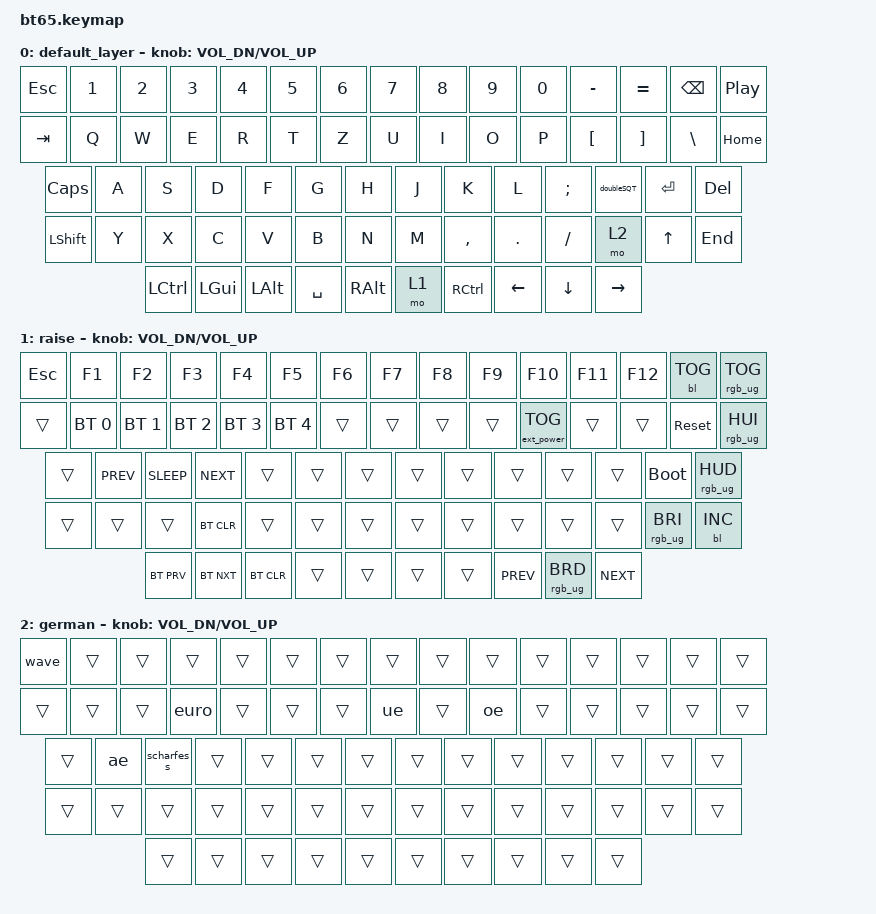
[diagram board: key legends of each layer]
#include <behaviors.dtsi>
#include <dt-bindings/zmk/keys.h>
#include <dt-bindings/zmk/bt.h>
#include <dt-bindings/zmk/rgb.h>
#include <dt-bindings/zmk/backlight.h>
#include <dt-bindings/zmk/ext_power.h>

/ {
	// Macros for Umlauts, Sharp S (ß), Euro Symbol (€), and Tilde (~)
	macros {
		oe: oe {
			label = "oe";
			compatible = "zmk,behavior-macro";
			#binding-cells = <0>;
			wait-ms = <60>;
			tap-ms = <40>;
			bindings = <&macro_press &kp LSHFT &macro_tap &kp SQT &macro_release &kp LSHFT &macro_tap &kp O>;
		};

		ue: ue {
			label = "ue";
			compatible = "zmk,behavior-macro";
			#binding-cells = <0>;
			wait-ms = <60>;
			tap-ms = <40>;
			bindings = <&macro_press &kp LSHFT &macro_tap &kp SQT &macro_release &kp LSHFT &macro_tap &kp U>;
		};

		ae: ae {
			label = "ae";
			compatible = "zmk,behavior-macro";
			#binding-cells = <0>;
			wait-ms = <60>;
			tap-ms = <40>;
			bindings = <&macro_press &kp LSHFT &macro_tap &kp SQT &macro_release &kp LSHFT &macro_tap &kp A>;
		};

		scharfes_s: scharfes_s {
			label = "scharfes_s";
			compatible = "zmk,behavior-macro";
			#binding-cells = <0>;
			wait-ms = <60>;
			tap-ms = <40>;
			bindings = <&macro_press &kp RALT &macro_tap &kp S &macro_release &kp RALT>;
		};

		euro: euro {
			label = "euro";
			compatible = "zmk,behavior-macro";
			#binding-cells = <0>;
			wait-ms = <60>;
			tap-ms = <40>;
			bindings = <&macro_press &kp RALT &macro_tap &kp N5 &macro_release &kp RALT>;
		};

		// Two taps because Shift+` is a dead tilde on US-Intl; second tap commits the literal ~.
		wave: wave {
			label = "wave";
			compatible = "zmk,behavior-macro";
			#binding-cells = <0>;
			wait-ms = <60>;
			tap-ms = <40>;
			bindings = <&macro_tap &kp LS(GRAVE) &kp LS(GRAVE)>;
		};

		// Two taps because ' is a dead acute on US-Intl; second tap commits literal ' (or " with Shift).
		doubleSQT: doubleSQT {
			label = "doubleSQT";
			compatible = "zmk,behavior-macro";
			#binding-cells = <0>;
			wait-ms = <60>;
			tap-ms = <40>;
			bindings = <&macro_tap &kp SQT &kp SQT>;
		};
	};

	// Default Layer (US-International layout)
	keymap {
		compatible = "zmk,keymap";

		default_layer {
			bindings = <
				&kp ESC &kp N1 &kp N2 &kp N3 &kp N4 &kp N5 &kp N6 &kp N7 &kp  N8   &kp  N9   &kp N0 &kp MINUS &kp EQUAL &kp BKSP &kp C_PLAY_PAUSE
				&kp TAB  &kp Q  &kp W  &kp E  &kp R  &kp T  &kp Z  &kp U  &kp  I    &kp  O  &kp  P   &kp LBKT &kp RBKT  	&kp BSLH &kp HOME
				&kp CLCK  &kp A  &kp S  &kp D  &kp F  &kp G  &kp H  &kp J  &kp  K    &kp  L  &kp SEMI &doubleSQT           	&kp RET &kp DEL
				&kp LSHFT &kp Y  &kp X  &kp C  &kp V  &kp B  &kp N  &kp M  &kp COMMA &kp DOT &kp FSLH   &mo 2 &kp UP &kp END 
				&kp LCTRL &kp LGUI &kp LALT            &kp SPACE                          &kp RALT  &mo 1 &kp RCTRL &kp LEFT &kp DOWN &kp RIGHT
			>;
			sensor-bindings = <&inc_dec_kp C_VOL_DN C_VOL_UP>;
		};

		// Raise Layer (Function keys, RGB, Bluetooth)
		raise {
			bindings = <
				&kp ESC &kp F1 &kp F2 &kp F3 &kp F4 &kp F5 &kp F6 &kp F7 &kp  F8   &kp  F9   &kp F10  &kp F11 &kp F12 &bl BL_TOG &rgb_ug RGB_TOG
				&trans &bt BT_SEL 0 &bt BT_SEL 1 &bt BT_SEL 2 &bt BT_SEL 3 &bt BT_SEL 4 &trans &trans &trans &trans &ext_power EP_TOG &trans &trans &sys_reset &rgb_ug RGB_HUI
				&trans   &kp C_PREV &kp C_SLEEP &kp C_NEXT &trans &trans &trans &trans &trans &trans &trans  &trans   &bootloader &rgb_ug RGB_HUD
				&trans &trans &trans &bt BT_CLR &trans &trans &trans &trans &trans &trans &trans  &trans &rgb_ug RGB_BRI &bl BL_INC
				&bt BT_PRV &bt BT_NXT  &bt BT_CLR	&trans                            &trans   &trans   &trans &kp C_PREV &rgb_ug RGB_BRD &kp C_NEXT
			>;
			sensor-bindings = <&inc_dec_kp C_VOL_DN C_VOL_UP>;
		};

		// German Layer (For special symbols like æ, ø, etc.)
		german {
			bindings = <
				&wave &trans &trans &trans &trans &trans &trans &trans &trans   &trans   &trans &trans &trans &trans &trans
				&trans  &trans  &trans  &euro   &trans  &trans  &trans  &ue  &trans    &oe    &trans   &trans &trans	&trans &trans
				&trans  &ae  &scharfes_s  &trans  &trans  &trans  &trans  &trans  &trans    &trans  &trans &trans       	&trans &trans
				&trans &trans  &trans  &trans  &trans  &trans  &trans  &trans  &trans &trans &trans   &trans &trans &trans 
				&trans &trans &trans            &trans                          &trans  &trans &trans &trans &trans &trans
			>;
			sensor-bindings = <&inc_dec_kp C_VOL_DN C_VOL_UP>;
		};
	};
};

// Hardware overrides on top of upstream polarityworks/bt65 board.
&sensors {
	sensors = <&encoder_3>;
	triggers-per-rotation = <10>;
};

&encoder_1 { steps = <24>; };
&encoder_2 { steps = <24>; };
&encoder_3 { steps = <24>; };

&kscan0 {
	debounce-press-ms = <5>;
	debounce-release-ms = <10>;
};
